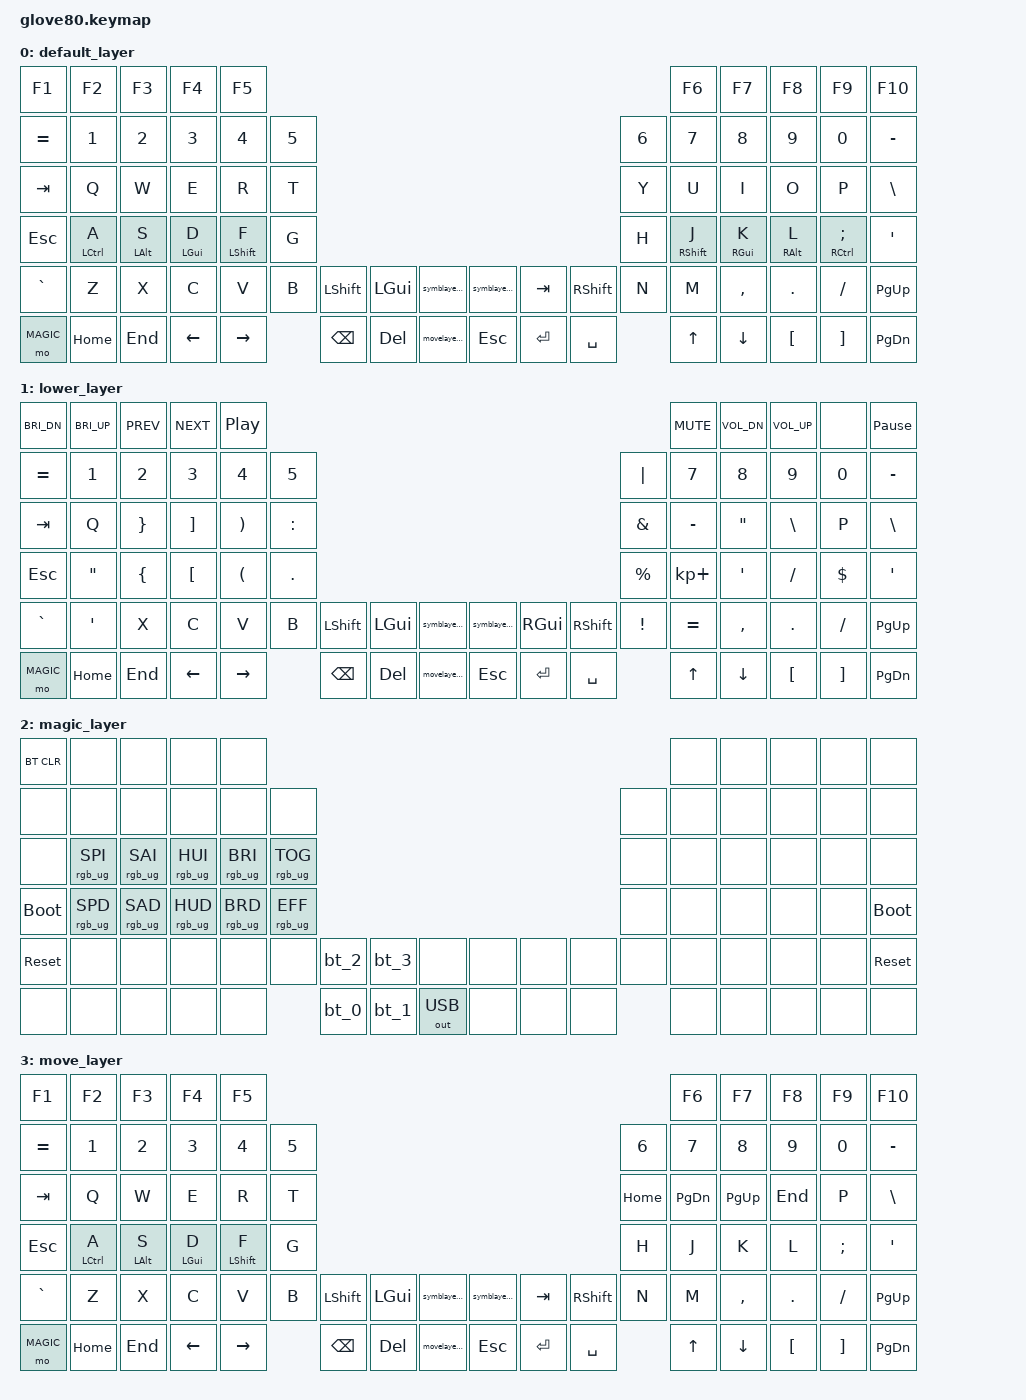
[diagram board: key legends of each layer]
/*
 * Copyright (c) 2020 The ZMK Contributors
 *
 * SPDX-License-Identifier: MIT
 */

#include <behaviors.dtsi>
#include <dt-bindings/zmk/bt.h>
#include <dt-bindings/zmk/keys.h>
#include <dt-bindings/zmk/outputs.h>
#include <dt-bindings/zmk/rgb.h>

// layers

#define DEFAULT 0
#define LOWER 1
#define MAGIC 2

/ {
    behaviors {
        // For the "layer" key, it'd nice to be able to use it as either a shift or a toggle.
        // Configure it as a tap dance, so the first tap (or hold) is a &mo and the second tap is a &to

        layer_td: tap_dance_0 {
            compatible = "zmk,behavior-tap-dance";
            #binding-cells = <0>;
            tapping-term-ms = <200>;
            bindings = <&mo LOWER>, <&to LOWER>;
        };

        bhm: balanced_homerow_mods {
            compatible = "zmk,behavior-hold-tap";
            #binding-cells = <2>;
            tapping-term-ms = <200>;    // <---[[moderate duration]]
            quick-tap-ms = <0>;
            flavor = "tap-preferred";
            bindings = <&kp>, <&kp>;
        };
    };

    combos {
        compatible = "zmk,combos";

        symblr {
            timeout-ms = <150>;
            key-positions = <42 41>;
            bindings = <&symblayercolor>;
        };

        symbll {
            timeout-ms = <150>;
            bindings = <&symblayercolor>;
            key-positions = <37 38>;
        };

        caps {
            bindings = <&caps_word>;
            key-positions = <52 57>;
        };
    };

    macros {
        cmdtab: cmdtab {
            compatible = "zmk,behavior-macro";
            #binding-cells = <0>;
            bindings =
                <&macro_press>,
                <&kp LGUI>,
                <&macro_tap>,
                <&kp TAB>,
                <&macro_release>,
                <&kp LGUI>;
        };

        bt_0: bt_profile_macro_0 {
            compatible = "zmk,behavior-macro";
            #binding-cells = <0>;
            bindings = <&out OUT_BLE &bt BT_SEL 0>;
        };

        bt_1: bt_profile_macro_1 {
            compatible = "zmk,behavior-macro";
            #binding-cells = <0>;
            bindings = <&out OUT_BLE &bt BT_SEL 1>;
        };

        bt_2: bt_profile_macro_2 {
            compatible = "zmk,behavior-macro";
            #binding-cells = <0>;
            bindings = <&out OUT_BLE &bt BT_SEL 2>;
        };

        bt_3: bt_profile_macro_3 {
            compatible = "zmk,behavior-macro";
            #binding-cells = <0>;
            bindings = <&out OUT_BLE &bt BT_SEL 3>;
        };

        symblayercolor: symblayercolor {
            compatible = "zmk,behavior-macro";
            #binding-cells = <0>;
            bindings =
                <&macro_press>,
                <&mo 1 &rgb_ug RGB_TOG>,
                <&macro_tap>,
                <&rgb_ug RGB_COLOR_HSB(177,100,50)>,
                <&macro_pause_for_release>,
                <&macro_release>,
                <&mo 1>,
                <&macro_tap>,
                <&rgb_ug RGB_TOG>;

            label = "SYMBLAYERCOLOR";
        };

        movelayercolor: movelayercolor {
            compatible = "zmk,behavior-macro";
            #binding-cells = <0>;
            bindings =
                <&macro_press>,
                <&mo 3 &rgb_ug RGB_TOG>,
                <&macro_tap>,
                <&rgb_ug RGB_COLOR_HSB(300,100,50)>,
                <&macro_pause_for_release>,
                <&macro_release>,
                <&mo 3>,
                <&macro_tap>,
                <&rgb_ug RGB_TOG>;

            label = "MOVELAYERCOLOR";
        };
    };

    keymap {
        compatible = "zmk,keymap";

        default_layer {
            bindings = <
&kp F1     &kp F2        &kp F3       &kp F4       &kp F5                                                                                                      &kp F6        &kp F7       &kp F8       &kp F9           &kp F10
&kp EQUAL  &kp N1        &kp N2       &kp N3       &kp N4         &kp N5                                                                               &kp N6  &kp N7        &kp N8       &kp N9       &kp N0           &kp MINUS
&kp TAB    &kp Q         &kp W        &kp E        &kp R          &kp T                                                                                &kp Y   &kp U         &kp I        &kp O        &kp P            &kp BSLH
&kp ESC    &bhm LCTRL A  &bhm LALT S  &bhm LGUI D  &bhm LSHIFT F  &kp G                                                                                &kp H   &bhm RSHFT J  &bhm RGUI K  &bhm RALT L  &bhm RCTRL SEMI  &kp SQT
&kp GRAVE  &kp Z         &kp X        &kp C        &kp V          &kp B   &kp LSHFT  &kp LGUI  &symblayercolor    &symblayercolor  &kp TAB  &kp RSHFT  &kp N   &kp M         &kp COMMA    &kp DOT      &kp FSLH         &kp PG_UP
&mo MAGIC  &kp HOME      &kp END      &kp LEFT     &kp RIGHT              &kp BSPC   &kp DEL   &movelayercolor    &kp ESC          &kp RET  &kp SPACE          &kp UP        &kp DOWN     &kp LBKT     &kp RBKT         &kp PG_DN
            >;
        };

        lower_layer {
            bindings = <
&kp C_BRI_DN  &kp C_BRI_UP       &kp C_PREV       &kp C_NEXT         &kp C_PP                                                                                                                   &kp C_MUTE   &kp C_VOL_DN       &kp C_VOL_UP  &none     &kp PAUSE_BREAK
&kp EQUAL     &kp N1             &kp N2           &kp N3             &kp N4                 &kp N5                                                                                   &kp PIPE   &kp N7       &kp N8             &kp N9        &kp N0    &kp MINUS
&kp TAB       &kp Q              &kp RIGHT_BRACE  &kp RIGHT_BRACKET  &kp RIGHT_PARENTHESIS  &kp COLON                                                                                &kp AMPS   &kp MINUS    &kp DOUBLE_QUOTES  &kp BSLH      &kp P     &kp BSLH
&kp ESC       &kp DOUBLE_QUOTES  &kp LEFT_BRACE   &kp LEFT_BRACKET   &kp LEFT_PARENTHESIS   &kp DOT                                                                                  &kp PRCNT  &kp KP_PLUS  &kp SQT            &kp FSLH      &kp DLLR  &kp SQT
&kp GRAVE     &kp SQT            &kp X            &kp C              &kp V                  &kp B      &kp LSHFT  &kp LGUI  &symblayercolor    &symblayercolor  &kp RGUI  &kp RSHFT  &kp EXCL   &kp EQUAL    &kp COMMA          &kp DOT       &kp FSLH  &kp PG_UP
&mo MAGIC     &kp HOME           &kp END          &kp LEFT           &kp RIGHT                         &kp BSPC   &kp DEL   &movelayercolor    &kp ESC          &kp RET   &kp SPACE             &kp UP       &kp DOWN           &kp LBKT      &kp RBKT  &kp PG_DN
            >;
        };

        magic_layer {
            bindings = <
&bt BT_CLR   &none            &none            &none            &none                                                                                       &none  &none  &none  &none  &none
&none        &none            &none            &none            &none            &none                                                               &none  &none  &none  &none  &none  &none
&none        &rgb_ug RGB_SPI  &rgb_ug RGB_SAI  &rgb_ug RGB_HUI  &rgb_ug RGB_BRI  &rgb_ug RGB_TOG                                                     &none  &none  &none  &none  &none  &none
&bootloader  &rgb_ug RGB_SPD  &rgb_ug RGB_SAD  &rgb_ug RGB_HUD  &rgb_ug RGB_BRD  &rgb_ug RGB_EFF                                                     &none  &none  &none  &none  &none  &bootloader
&sys_reset   &none            &none            &none            &none            &none            &bt_2  &bt_3  &none           &none  &none  &none  &none  &none  &none  &none  &none  &sys_reset
&none        &none            &none            &none            &none                             &bt_0  &bt_1  &out OUT_USB    &none  &none  &none         &none  &none  &none  &none  &none
            >;
        };

        move_layer {
            bindings = <
&kp F1     &kp F2        &kp F3       &kp F4       &kp F5                                                                                                        &kp F6     &kp F7     &kp F8    &kp F9    &kp F10
&kp EQUAL  &kp N1        &kp N2       &kp N3       &kp N4         &kp N5                                                                               &kp N6    &kp N7     &kp N8     &kp N9    &kp N0    &kp MINUS
&kp TAB    &kp Q         &kp W        &kp E        &kp R          &kp T                                                                                &kp HOME  &kp PG_DN  &kp PG_UP  &kp END   &kp P     &kp BSLH
&kp ESC    &bhm LCTRL A  &bhm LALT S  &bhm LGUI D  &bhm LSHIFT F  &kp G                                                                                &kp H     &kp J      &kp K      &kp L     &kp SEMI  &kp SQT
&kp GRAVE  &kp Z         &kp X        &kp C        &kp V          &kp B   &kp LSHFT  &kp LGUI  &symblayercolor    &symblayercolor  &kp TAB  &kp RSHFT  &kp N     &kp M      &kp COMMA  &kp DOT   &kp FSLH  &kp PG_UP
&mo MAGIC  &kp HOME      &kp END      &kp LEFT     &kp RIGHT              &kp BSPC   &kp DEL   &movelayercolor    &kp ESC          &kp RET  &kp SPACE            &kp UP     &kp DOWN   &kp LBKT  &kp RBKT  &kp PG_DN
            >;
        };
    };
};
